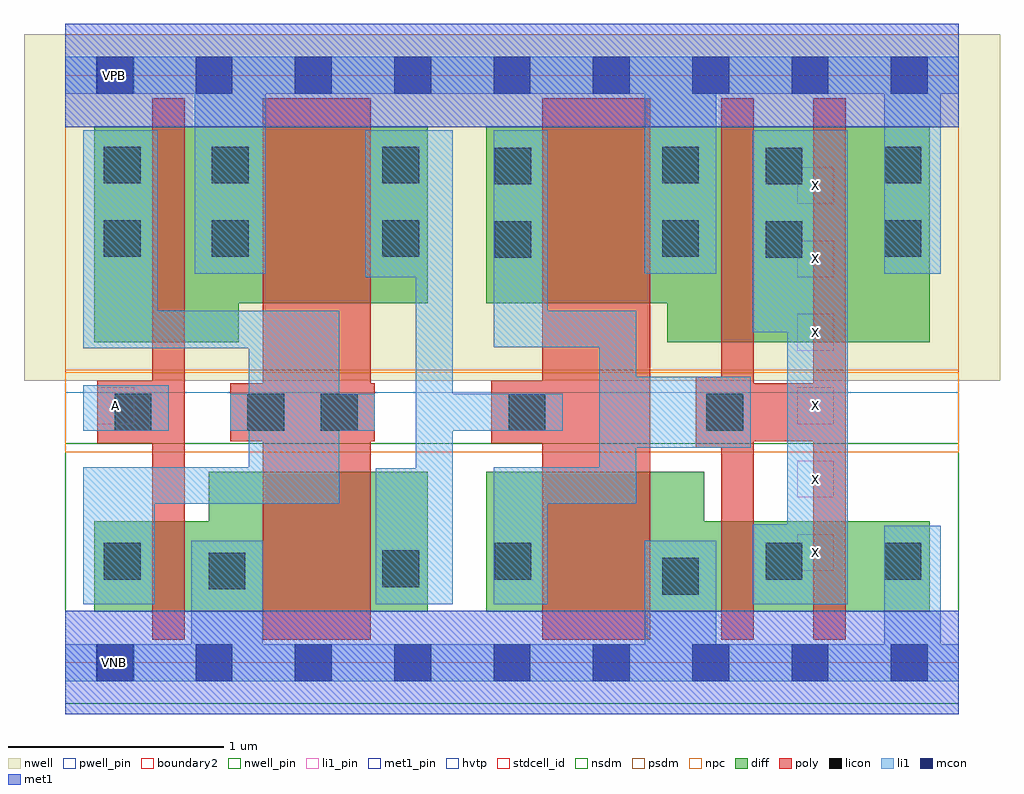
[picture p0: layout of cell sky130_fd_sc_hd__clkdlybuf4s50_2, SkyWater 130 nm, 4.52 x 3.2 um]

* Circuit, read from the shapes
.subckt sky130_fd_sc_hd__clkdlybuf4s50_2 A VGND VNB VPB VPWR X
XM1 VGND A n1 VNB sky130_fd_pr__nfet_01v8 w=0.42 l=0.15
XM2 n2 n1 VGND VNB sky130_fd_pr__nfet_01v8 w=0.65 l=0.5
XM3 VGND n2 n3 VNB sky130_fd_pr__nfet_01v8 w=0.65 l=0.5
XM4 X n3 VGND VNB sky130_fd_pr__nfet_01v8 w=0.42 l=0.15 m=2
XM5 VPWR A n1 VPB sky130_fd_pr__pfet_01v8_hvt w=1 l=0.15
XM6 n2 n1 VPWR VPB sky130_fd_pr__pfet_01v8_hvt w=0.82 l=0.5
XM7 VPWR n2 n3 VPB sky130_fd_pr__pfet_01v8_hvt w=0.82 l=0.5
XM8 X n3 VPWR VPB sky130_fd_pr__pfet_01v8_hvt w=1 l=0.15 m=2
.ends

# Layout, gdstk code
import gdstk
lib = gdstk.Library(unit=1e-6, precision=1e-09)
def R(c, l, rs):  # rectangles x0, y0, x1, y1
    for r in rs: c.add(gdstk.rectangle(r[:2], r[2:], *l))
def A(c, l, x, y, w, h, nx, ny, dx, dy):  # array of equal rectangles
    R(c, l, [(x+i*dx, y+j*dy, x+i*dx+w, y+j*dy+h) for i in range(nx) for j in range(ny)])
def P(c, l, *ps):  # polygons
    for p in ps: c.add(gdstk.Polygon(p, *l))
nwell_pin = (64, 16)
nwell = (64, 20)
diff = (65, 20)
poly = (66, 20)
licon = (66, 44)
li1_pin = (67, 16)
li1 = (67, 20)
mcon = (67, 44)
met1_pin = (68, 16)
met1 = (68, 20)
hvtp = (78, 44)
stdcell_id = (81, 4)
nsdm = (93, 44)
psdm = (94, 20)
npc = (95, 20)
pwell_pin = (122, 16)
boundary2 = (236, 0)

sky130_fd_sc_hd__clkdlyb = lib.new_cell('sky130_fd_sc_hd__clkdlybuf4s50_2')
R(sky130_fd_sc_hd__clkdlyb, nwell_pin, [(0.15,2.635,0.32,2.805)])
R(sky130_fd_sc_hd__clkdlyb, nwell, [(-0.19,1.305,4.33,2.91)])
P(sky130_fd_sc_hd__clkdlyb, diff, [(1.68,2.485),(0.135,2.485),(0.135,1.485),(0.805,1.485),(0.805,1.665),(1.68,1.665)],
  [(1.68,0.885),(0.665,0.885),(0.665,0.655),(0.135,0.655),(0.135,0.235),(1.68,0.235)],
  [(4.005,2.485),(1.95,2.485),(1.95,1.665),(2.79,1.665),(2.79,1.485),(4.005,1.485)],
  [(4.005,0.655),(2.96,0.655),(2.96,0.885),(1.95,0.885),(1.95,0.235),(4.005,0.235)])
P(sky130_fd_sc_hd__clkdlyb, poly, [(0.555,2.615),(0.405,2.615),(0.405,1.305),(0.15,1.305),(0.15,1.015),(0.405,1.015),(0.405,0.105),(0.555,0.105)],
  [(1.435,1.295),(1.415,1.295),(1.415,2.615),(0.915,2.615),(0.915,1.295),(0.765,1.295),(0.765,1.025),(0.915,1.025),(0.915,0.105),(1.415,0.105),(1.415,1.025),(1.435,1.025)],
  [(2.71,2.615),(2.21,2.615),(2.21,1.305),(1.975,1.305),(1.975,1.015),(2.21,1.015),(2.21,0.105),(2.71,0.105)],
  [(3.615,2.615),(3.465,2.615),(3.465,1.295),(3.19,1.295),(3.19,2.615),(3.04,2.615),(3.04,1.325),(2.92,1.325),(2.92,0.995),(3.04,0.995),(3.04,0.105),(3.19,0.105),(3.19,1.025),(3.465,1.025),(3.465,0.105),(3.615,0.105)])
R(sky130_fd_sc_hd__clkdlyb, licon, [(2.765,0.315,2.935,0.485), (0.665,0.34,0.835,0.51), (1.47,0.35,1.64,0.52), (0.18,0.385,0.35,0.555), (1.99,0.385,2.16,0.555), (3.245,0.385,3.415,0.555), (3.795,0.385,3.965,0.555), (0.23,1.075,0.4,1.245), (0.845,1.075,1.015,1.245), (1.185,1.075,1.355,1.245), (2.055,1.075,2.225,1.245), (2.97,1.075,3.14,1.245), (1.99,1.875,2.16,2.045), (3.245,1.875,3.415,2.045), (0.18,1.88,0.35,2.05), (0.68,1.88,0.85,2.05), (1.47,1.88,1.64,2.05), (2.765,1.88,2.935,2.05), (3.795,1.88,3.965,2.05), (1.99,2.215,2.16,2.385), (3.245,2.215,3.415,2.385), (0.18,2.22,0.35,2.39), (0.68,2.22,0.85,2.39), (1.47,2.22,1.64,2.39), (2.765,2.22,2.935,2.39), (3.795,2.22,3.965,2.39)])
A(sky130_fd_sc_hd__clkdlyb, li1_pin, 3.39, 0.425, 0.17, 0.17, 1, 6, 0, 0.34)
R(sky130_fd_sc_hd__clkdlyb, li1_pin, [(0.15,1.105,0.32,1.275)])
R(sky130_fd_sc_hd__clkdlyb, li1, [(0.085,1.075,0.48,1.285)])
P(sky130_fd_sc_hd__clkdlyb, li1, [(4.14,0.085),(4.055,0.085),(4.055,0.635),(3.795,0.635),(3.795,0.085),(3.015,0.085),(3.015,0.565),(2.685,0.565),(2.685,0.085),(0.915,0.085),(0.915,0.565),(0.585,0.565),(0.585,0.085),(0,0.085),(0,-0.085),(4.14,-0.085)],
  [(4.14,2.805),(0,2.805),(0,2.635),(0.6,2.635),(0.6,1.8),(0.93,1.8),(0.93,2.635),(2.685,2.635),(2.685,1.8),(3.015,1.8),(3.015,2.635),(3.795,2.635),(3.795,1.8),(4.055,1.8),(4.055,2.635),(4.14,2.635)],
  [(1.435,1.245),(1.27,1.245),(1.27,1.63),(0.43,1.63),(0.43,2.465),(0.085,2.465),(0.085,1.455),(0.85,1.455),(0.85,1.245),(0.765,1.245),(0.765,1.075),(0.85,1.075),(0.85,0.905),(0.085,0.905),(0.085,0.27),(0.415,0.27),(0.415,0.735),(1.27,0.735),(1.27,1.075),(1.435,1.075)],
  [(2.305,1.245),(1.795,1.245),(1.795,2.465),(1.39,2.465),(1.39,1.785),(1.625,1.785),(1.625,0.9),(1.44,0.9),(1.44,0.27),(1.795,0.27),(1.795,1.075),(2.305,1.075)],
  [(3.175,1.325),(2.645,1.325),(2.645,1.63),(2.235,1.63),(2.235,2.465),(1.985,2.465),(1.985,1.46),(2.475,1.46),(2.475,0.905),(1.985,0.905),(1.985,0.27),(2.235,0.27),(2.235,0.735),(2.645,0.735),(2.645,0.995),(3.175,0.995)],
  [(3.625,2.465),(3.185,2.465),(3.185,1.53),(3.345,1.53),(3.345,0.64),(3.185,0.64),(3.185,0.27),(3.625,0.27)])
A(sky130_fd_sc_hd__clkdlyb, mcon, 0.145, -0.085, 0.17, 0.17, 9, 2, 0.46, 2.72)
R(sky130_fd_sc_hd__clkdlyb, met1_pin, [(0.15,-0.085,0.32,0.085), (0.15,2.635,0.32,2.805)])
R(sky130_fd_sc_hd__clkdlyb, hvtp, [(0,1.25,4.14,2.72)])
R(sky130_fd_sc_hd__clkdlyb, stdcell_id, [(0,0,4.14,2.72)])
R(sky130_fd_sc_hd__clkdlyb, nsdm, [(0,-0.19,4.14,1.015)])
R(sky130_fd_sc_hd__clkdlyb, psdm, [(0,1.355,4.14,2.91)])
R(sky130_fd_sc_hd__clkdlyb, npc, [(0,0.975,4.14,1.345)])
R(sky130_fd_sc_hd__clkdlyb, pwell_pin, [(0.15,-0.085,0.32,0.085)])
R(sky130_fd_sc_hd__clkdlyb, boundary2, [(0,0,4.14,2.72)])
sky130_fd_sc_hd__clkdlyb.add(gdstk.FlexPath([(0,2.72),(4.14,2.72)], 0.48, ends="flush", simple_path=True, layer=68, datatype=20))  # met1
sky130_fd_sc_hd__clkdlyb.add(gdstk.FlexPath([(0,0),(4.14,0)], 0.48, ends="flush", simple_path=True, layer=68, datatype=20))  # met1
sky130_fd_sc_hd__clkdlyb.add(gdstk.Label('A', (0.235,1.19), layer=67, texttype=5))
sky130_fd_sc_hd__clkdlyb.add(gdstk.Label('X', (3.475,2.21), layer=67, texttype=5))
sky130_fd_sc_hd__clkdlyb.add(gdstk.Label('X', (3.475,1.87), layer=67, texttype=5))
sky130_fd_sc_hd__clkdlyb.add(gdstk.Label('X', (3.475,1.53), layer=67, texttype=5))
sky130_fd_sc_hd__clkdlyb.add(gdstk.Label('X', (3.475,1.19), layer=67, texttype=5))
sky130_fd_sc_hd__clkdlyb.add(gdstk.Label('X', (3.475,0.85), layer=67, texttype=5))
sky130_fd_sc_hd__clkdlyb.add(gdstk.Label('X', (3.475,0.51), layer=67, texttype=5))
sky130_fd_sc_hd__clkdlyb.add(gdstk.Label('VNB', (0.23,0), layer=64, texttype=59))
sky130_fd_sc_hd__clkdlyb.add(gdstk.Label('VPB', (0.23,2.72), layer=64, texttype=5))
sky130_fd_sc_hd__clkdlyb.add(gdstk.Label('VGND', (0.23,0), layer=68, texttype=5))
sky130_fd_sc_hd__clkdlyb.add(gdstk.Label('VPWR', (0.23,2.72), layer=68, texttype=5))
sky130_fd_sc_hd__clkdlyb.add(gdstk.Label('clkdlybuf4s50_2', (0,0), layer=83, texttype=44))

lib.write_gds('sky130_fd_sc_hd__clkdlybuf4s50_2.gds')
